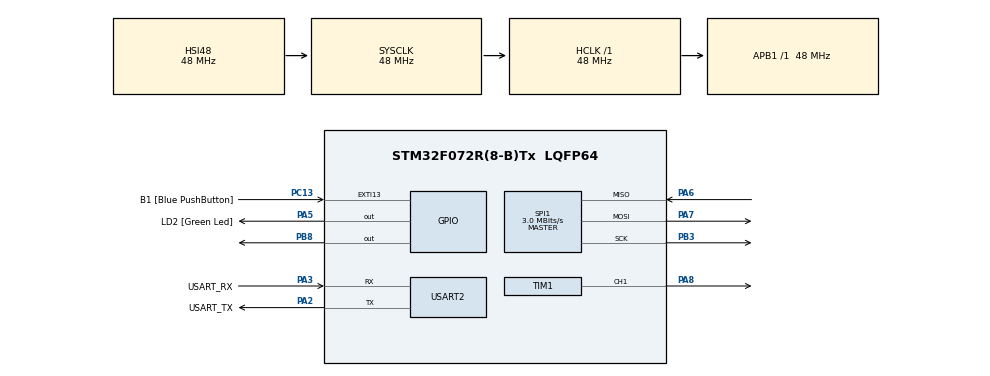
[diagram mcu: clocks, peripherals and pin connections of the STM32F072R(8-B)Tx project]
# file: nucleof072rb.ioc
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Mcu.Family=STM32F0
Mcu.Name=STM32F072R(8-B)Tx
Mcu.Package=LQFP64
PA13.GPIO_Label=TMS
PA13.Mode=Serial_Wire
PA13.Signal=SYS_SWDIO
PA14.GPIO_Label=TCK
PA14.Mode=Serial_Wire
PA14.Signal=SYS_SWCLK
PA2.GPIO_Label=USART_TX
PA2.GPIO_Mode=GPIO_MODE_AF_PP
PA2.GPIO_PuPd=GPIO_NOPULL
PA2.GPIO_Speed=GPIO_SPEED_FREQ_LOW
PA2.Mode=Asynchronous
PA2.Signal=USART2_TX
PA3.GPIO_Label=USART_RX
PA3.GPIO_Mode=GPIO_MODE_AF_PP
PA3.GPIO_PuPd=GPIO_NOPULL
PA3.GPIO_Speed=GPIO_SPEED_FREQ_LOW
PA3.Mode=Asynchronous
PA3.Signal=USART2_RX
PA5.GPIO_Label=LD2 [Green Led]
PA5.GPIO_Mode=GPIO_MODE_OUTPUT_PP
PA5.GPIO_PuPd=GPIO_NOPULL
PA5.GPIO_Speed=GPIO_SPEED_FREQ_LOW
PA5.Signal=GPIO_Output
PA6.Mode=Full_Duplex_Master
PA6.Signal=SPI1_MISO
PA7.Mode=Full_Duplex_Master
PA7.Signal=SPI1_MOSI
PA8.Signal=S_TIM1_CH1
PB3.Mode=Full_Duplex_Master
PB3.Signal=SPI1_SCK
PB8.Signal=GPIO_Output
PC13.GPIO_Label=B1 [Blue PushButton]
PC13.GPIO_ModeDefaultEXTI=GPIO_MODE_IT_FALLING
PC13.Signal=GPXTI13
PC14-OSC32_IN.Mode=LSE-External-Oscillator
PC14-OSC32_IN.Signal=RCC_OSC32_IN
PC15-OSC32_OUT.Mode=LSE-External-Oscillator
PC15-OSC32_OUT.Signal=RCC_OSC32_OUT
PF0-OSC_IN.Mode=HSE-External-Clock-Source
PF0-OSC_IN.Signal=RCC_OSC_IN
PF1-OSC_OUT.Signal=RCC_OSC_OUT
ProjectManager.HeapSize=0x200
ProjectManager.StackSize=0x400
ProjectManager.TargetToolchain=STM32CubeIDE
RCC.AHBFreq_Value=48000000
RCC.APB1Freq_Value=48000000
RCC.APB1TimFreq_Value=48000000
RCC.FLatency-AdvancedSettings=FLASH_LATENCY_1
RCC.HCLKFreq_Value=48000000
RCC.PLLDivider=RCC_PREDIV_DIV2
RCC.PLLMUL=RCC_PLL_MUL12
RCC.PREFETCH_ENABLE-AdvancedSettings=1
RCC.SYSCLKFreq_VALUE=48000000
RCC.SYSCLKSource=RCC_SYSCLKSOURCE_HSI48
SH.S_TIM1_CH1.0=TIM1_CH1,PWM Generation1 CH1
SPI1.BaudRatePrescaler=SPI_BAUDRATEPRESCALER_16
SPI1.CLKPolarity=SPI_POLARITY_LOW
SPI1.CalculateBaudRate=3.0 MBits/s
SPI1.DataSize=SPI_DATASIZE_8BIT
SPI1.Direction=SPI_DIRECTION_2LINES
SPI1.Mode=SPI_MODE_MASTER
SPI1.VirtualType=VM_MASTER
TIM1.AutoReloadPreload=TIM_AUTORELOAD_PRELOAD_ENABLE
TIM1.Channel-PWM\ Generation1\ CH1=TIM_CHANNEL_1
TIM1.Period=64000
TIM1.Prescaler=14
TIM1.Pulse-PWM\ Generation1\ CH1=3200
USART2.VirtualMode=VM_ASYNC
USART2.VirtualMode-Asynchronous=VM_ASYNC
VP_TIM1_VS_ClockSourceINT.Mode=Internal
board=NUCLEO-F072RB

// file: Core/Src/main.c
/* USER CODE BEGIN Header */
/**
  ******************************************************************************
  * @file           : main.c
  * @brief          : Main program body
  ******************************************************************************
  * @attention
  *
  * <h2><center>&copy; Copyright (c) 2021 STMicroelectronics.
  * All rights reserved.</center></h2>
  *
  * This software component is licensed by ST under BSD 3-Clause license,
  * the "License"; You may not use this file except in compliance with the
  * License. You may obtain a copy of the License at:
  *                        opensource.org/licenses/BSD-3-Clause
  *
  ******************************************************************************
  */
/* USER CODE END Header */
#include "main.h"
#include "spi.h"
#include "tim.h"
#include "usart.h"
#include "gpio.h"
#include <string.h>

/* USER CODE BEGIN PV */
const uint8_t INIT_BITS = 0x1;
const uint8_t SGL_DIFF = 0x80;
const uint8_t BUFFER_BITS = 0x1; // change to hex

/* USER CODE END PV */

void SystemClock_Config(void);
/* USER CODE BEGIN PFP */
void Set_Motor_Speed(uint8_t buffer[]);
/* USER CODE END PFP */

int main(void)
{

  /* USER CODE BEGIN 1 */
	// One char is one byte
  uint8_t spi_buf_rx[3]; // Need this to receive the data. Don't know about length though
  // NEED TO CREATE A TXBUFF TO STORE 3 BYTES NEEDED TO GET MESSAGE FROM ADC
  uint8_t spi_buf_tx[3];
  spi_buf_tx[0] = INIT_BITS;
  spi_buf_tx[1] = SGL_DIFF;
  spi_buf_tx[2] = BUFFER_BITS;
  /* USER CODE END 1 */

  /* MCU Configuration--------------------------------------------------------*/

  /* Reset of all peripherals, Initializes the Flash interface and the Systick. */
  HAL_Init();

  /* USER CODE BEGIN Init */
  HAL_TIM_PWM_Start(&htim1, TIM_CHANNEL_1);

  /* USER CODE END Init */

  /* Configure the system clock */
  SystemClock_Config();

  /* Initialize all configured peripherals */
  MX_GPIO_Init();
  MX_USART2_UART_Init();
  MX_SPI1_Init();
  MX_TIM1_Init();
  /* USER CODE BEGIN 2 */

  // CS Pin should be default high
  HAL_GPIO_WritePin(GPIOB, GPIO_PIN_8, GPIO_PIN_SET);
  __HAL_TIM_SET_COMPARE(&htim1, TIM_CHANNEL_1, 3200);

  /* USER CODE END 2 */

  /* Infinite loop */
  /* USER CODE BEGIN WHILE */
  while (1)
  {
	HAL_GPIO_WritePin(GPIOB, GPIO_PIN_8, GPIO_PIN_RESET);
	HAL_SPI_TransmitReceive(&hspi1, spi_buf_tx, spi_buf_rx, 3, 100);
	HAL_GPIO_WritePin(GPIOB, GPIO_PIN_8, GPIO_PIN_SET);

	Set_Motor_Speed(spi_buf_rx);
	memset(spi_buf_rx, 0, sizeof(spi_buf_rx));

    /* USER CODE END WHILE */

    /* USER CODE BEGIN 3 */
	HAL_Delay(10);
  }
  /* USER CODE END 3 */
}

void SystemClock_Config(void)
{
  RCC_OscInitTypeDef RCC_OscInitStruct = {0};
  RCC_ClkInitTypeDef RCC_ClkInitStruct = {0};
  RCC_PeriphCLKInitTypeDef PeriphClkInit = {0};

  /** Initializes the RCC Oscillators according to the specified parameters
  * in the RCC_OscInitTypeDef structure.
  */
  RCC_OscInitStruct.OscillatorType = RCC_OSCILLATORTYPE_HSI48;
  RCC_OscInitStruct.HSI48State = RCC_HSI48_ON;
  RCC_OscInitStruct.PLL.PLLState = RCC_PLL_NONE;
  if (HAL_RCC_OscConfig(&RCC_OscInitStruct) != HAL_OK)
  {
    Error_Handler();
  }

  /** Initializes the CPU, AHB and APB buses clocks
  */
  RCC_ClkInitStruct.ClockType = RCC_CLOCKTYPE_HCLK|RCC_CLOCKTYPE_SYSCLK
                              |RCC_CLOCKTYPE_PCLK1;
  RCC_ClkInitStruct.SYSCLKSource = RCC_SYSCLKSOURCE_HSI48;
  RCC_ClkInitStruct.AHBCLKDivider = RCC_SYSCLK_DIV1;
  RCC_ClkInitStruct.APB1CLKDivider = RCC_HCLK_DIV1;

  if (HAL_RCC_ClockConfig(&RCC_ClkInitStruct, FLASH_LATENCY_1) != HAL_OK)
  {
    Error_Handler();
  }
  PeriphClkInit.PeriphClockSelection = RCC_PERIPHCLK_USART2;
  PeriphClkInit.Usart2ClockSelection = RCC_USART2CLKSOURCE_PCLK1;
  if (HAL_RCCEx_PeriphCLKConfig(&PeriphClkInit) != HAL_OK)
  {
    Error_Handler();
  }
}

/* USER CODE BEGIN 4 */
void Set_Motor_Speed(uint8_t buffer[]){
	float max_val = 1023;
	float add_for_max = 3200;

	uint16_t combined = ((uint16_t)(buffer[1] & 0x03) << 8) | (uint16_t)buffer[2];
	uint16_t adc_val = combined & 0x03FF;

	float mot_power = (adc_val/max_val);
	int duty_period = add_for_max + (add_for_max * mot_power);

	__HAL_TIM_SET_COMPARE(&htim1, TIM_CHANNEL_1, duty_period);
}

/* USER CODE END 4 */

void Error_Handler(void)
{
  __disable_irq();
  while (1)
  {
  }
}
